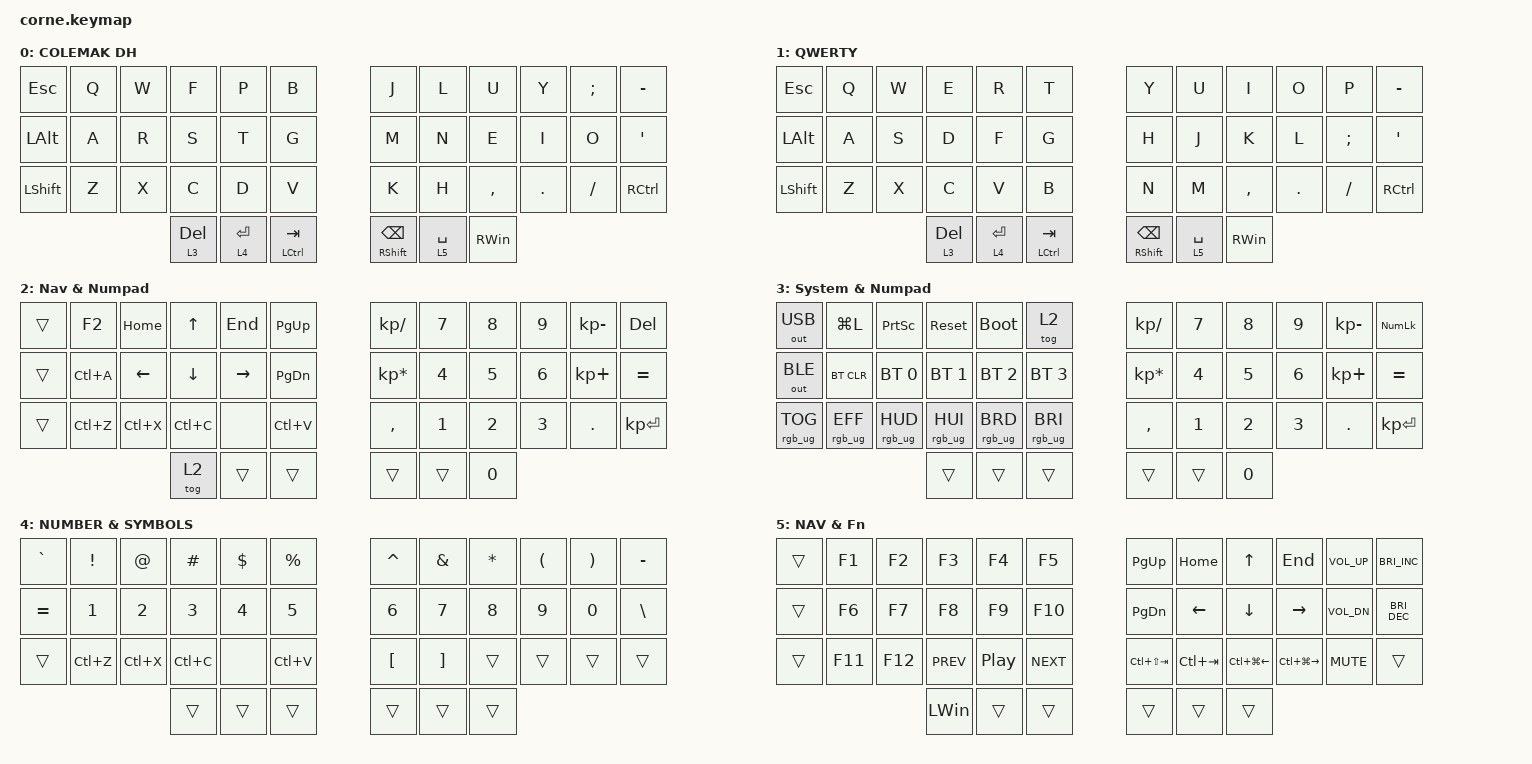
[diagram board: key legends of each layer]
/*
 * Copyright (c) 2020 The ZMK Contributors
 *
 * SPDX-License-Identifier: MIT
 */

#include <behaviors.dtsi>
#include <dt-bindings/zmk/bt.h>
#include <dt-bindings/zmk/keys.h>
#include <dt-bindings/zmk/outputs.h>
#include <dt-bindings/zmk/rgb.h>

/ {
    chosen {
        zmk,matrix_transform = &default_transform;

        // zmk,matrix_transform = &five_column_transform;
    };
};

/ {
    behaviors {
        td0: td0 {
            compatible = "zmk,behavior-tap-dance";
            label = "TD0";
            #binding-cells = <0>;
            bindings = <&kp LEFT_SHIFT>, <&kp CAPS>;
        };

        mo_tog: mo_tog {
            compatible = "zmk,behavior-hold-tap";
            label = "MO_TOG";
            bindings = <&mo>, <&tog>;

            #binding-cells = <2>;
            tapping-term-ms = <200>;
        };
    };

    combos {
        compatible = "zmk,combos";

        QwertyToggle {
            bindings = <&tog 1>;
            key-positions = <0 1>;
        };

        Caps_Combo {
            bindings = <&kp CAPSLOCK>;
            key-positions = <24 39>;
        };
    };

    keymap {
        compatible = "zmk,keymap";

        default_layer {
            display-name = "COLEMAK DH";

            // --------------------------------------------------------------------------------
            // |  TAB |  Q  |  W  |  E  |  R  |  T  |   |  Y  |  U   |  I  |  O  |  P  | BKSP |
            // | CTRL |  A  |  S  |  D  |  F  |  G  |   |  H  |  J   |  K  |  L  |  ;  |  '   | 
            // | SHFT |  Z  |  X  |  C  |  V  |  B  |   |  N  |  M   |  ,  |  .  |  /  | ESC  |
            //                    | GUI | LWR | SPC |   | ENT | RSE  | ALT |

            bindings = <
&kp ESCAPE      &kp Q  &kp W  &kp F         &kp P        &kp B            &kp J                      &kp L        &kp U      &kp Y    &kp SEMICOLON  &kp MINUS
&kp LEFT_ALT    &kp A  &kp R  &kp S         &kp T        &kp G            &kp M                      &kp N        &kp E      &kp I    &kp O          &kp SQT
&kp LEFT_SHIFT  &kp Z  &kp X  &kp C         &kp D        &kp V            &kp K                      &kp H        &kp COMMA  &kp DOT  &kp FSLH       &kp RCTRL
                              &lt 3 DELETE  &lt 4 ENTER  &mt LCTRL TAB    &mt RIGHT_SHIFT BACKSPACE  &lt 5 SPACE  &kp RWIN
            >;
        };

        alt_layout {
            display-name = "QWERTY";
            bindings = <
&kp ESCAPE      &kp Q  &kp W  &kp E         &kp R        &kp T            &kp Y                      &kp U        &kp I      &kp O    &kp P     &kp MINUS
&kp LEFT_ALT    &kp A  &kp S  &kp D         &kp F        &kp G            &kp H                      &kp J        &kp K      &kp L    &kp SEMI  &kp SQT
&kp LEFT_SHIFT  &kp Z  &kp X  &kp C         &kp V        &kp B            &kp N                      &kp M        &kp COMMA  &kp DOT  &kp FSLH  &kp RCTRL
                              &lt 3 DELETE  &lt 4 ENTER  &mt LCTRL TAB    &mt RIGHT_SHIFT BACKSPACE  &lt 5 SPACE  &kp RWIN
            >;
        };

        toggle_layer {
            display-name = "Nav & Numpad";
            bindings = <
&trans  &kp F2     &kp HOME        &kp UP_ARROW    &kp END    &kp PAGE_UP      &kp KP_DIVIDE    &kp N7        &kp N8        &kp N9        &kp KP_MINUS  &kp DELETE
&trans  &kp LC(A)  &kp LEFT_ARROW  &kp DOWN_ARROW  &kp RIGHT  &kp PAGE_DOWN    &kp KP_MULTIPLY  &kp NUMBER_4  &kp N5        &kp NUMBER_6  &kp KP_PLUS   &kp EQUAL
&trans  &kp LC(Z)  &kp LC(X)       &kp LC(C)       &none      &kp LC(V)        &kp COMMA        &kp NUMBER_1  &kp NUMBER_2  &kp NUMBER_3  &kp PERIOD    &kp KP_ENTER
                                   &tog 2          &trans     &trans           &trans           &trans        &kp N0
            >;
        };

        system_layer {
            display-name = "System & Numpad";
            bindings = <
&out OUT_USB     &kp LG(L)        &kp PRINTSCREEN  &sys_reset       &bootloader      &tog 2             &kp KP_DIVIDE    &kp N7        &kp N8        &kp N9        &kp KP_MINUS  &kp KP_NUMLOCK
&out OUT_BLE     &bt BT_CLR       &bt BT_SEL 0     &bt BT_SEL 1     &bt BT_SEL 2     &bt BT_SEL 3       &kp KP_MULTIPLY  &kp NUMBER_4  &kp N5        &kp NUMBER_6  &kp KP_PLUS   &kp EQUAL
&rgb_ug RGB_TOG  &rgb_ug RGB_EFF  &rgb_ug RGB_HUD  &rgb_ug RGB_HUI  &rgb_ug RGB_BRD  &rgb_ug RGB_BRI    &kp COMMA        &kp NUMBER_1  &kp NUMBER_2  &kp NUMBER_3  &kp PERIOD    &kp KP_ENTER
                                                   &trans           &trans           &trans             &trans           &trans        &kp N0
            >;
        };

        lower_layer {
            display-name = "NUMBER & SYMBOLS";

            // -----------------------------------------------------------------------------------------
            // |  TAB |  1  |  2  |  3  |  4  |  5  |   |  6  |  7  |  8  |  9  |  0  | BKSP |
            // | BTCLR| BT1 | BT2 | BT3 | BT4 | BT5 |   | LFT | DWN |  UP | RGT |     |      |
            // | SHFT |     |     |     |     |     |   |     |     |     |     |     |      |
            //                    | GUI |     | SPC |   | ENT |     | ALT |

            bindings = <
&kp GRAVE  &kp EXCLAMATION  &kp AT_SIGN   &kp HASH      &kp DOLLAR    &kp PERCENT    &kp CARET         &kp AMPERSAND      &kp ASTERISK  &kp LEFT_PARENTHESIS  &kp RIGHT_PARENTHESIS  &kp MINUS
&kp EQUAL  &kp NUMBER_1     &kp NUMBER_2  &kp NUMBER_3  &kp NUMBER_4  &kp N5         &kp NUMBER_6      &kp N7             &kp N8        &kp N9                &kp N0                 &kp BACKSLASH
&trans     &kp LC(Z)        &kp LC(X)     &kp LC(C)     &none         &kp LC(V)      &kp LEFT_BRACKET  &kp RIGHT_BRACKET  &trans        &trans                &trans                 &trans
                                          &trans        &trans        &trans         &trans            &trans             &trans
            >;
        };

        raise_layer {
            display-name = "NAV & Fn";

            // -----------------------------------------------------------------------------------------
            // |  TAB |  !  |  @  |  #  |  $  |  %  |   |  ^  |  &  |  *  |  (  |  )  | BKSP |
            // | CTRL |     |     |     |     |     |   |  -  |  =  |  [  |  ]  |  \  |  `   |
            // | SHFT |     |     |     |     |     |   |  _  |  +  |  {  |  }  | "|" |  ~   |
            //                    | GUI |     | SPC |   | ENT |     | ALT |

            bindings = <
&trans  &kp F1   &kp F2   &kp F3        &kp F4            &kp F5        &kp PAGE_UP      &kp HOME        &kp UP_ARROW      &kp END            &kp C_VOLUME_UP  &kp C_BRIGHTNESS_INC
&trans  &kp F6   &kp F7   &kp F8        &kp F9            &kp F10       &kp PAGE_DOWN    &kp LEFT_ARROW  &kp DOWN_ARROW    &kp RIGHT_ARROW    &kp C_VOL_DN     &kp C_BRIGHTNESS_DEC
&trans  &kp F11  &kp F12  &kp C_PREV    &kp C_PLAY_PAUSE  &kp C_NEXT    &kp LC(LS(TAB))  &kp LC(TAB)     &kp LC(LG(LEFT))  &kp LC(LG(RIGHT))  &kp C_MUTE       &trans
                          &kp LEFT_WIN  &trans            &trans        &trans           &trans          &trans
            >;
        };
    };
};
